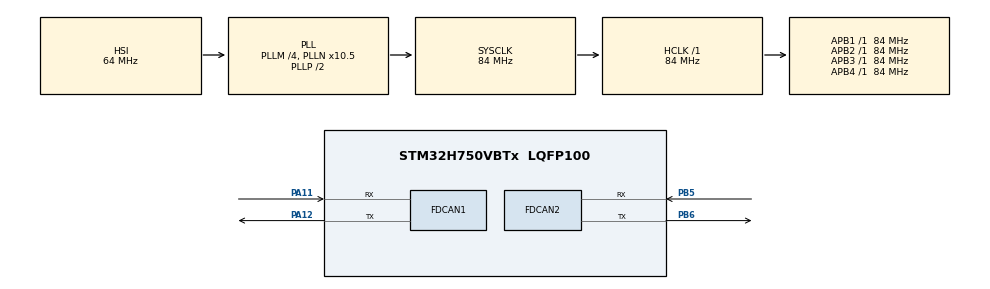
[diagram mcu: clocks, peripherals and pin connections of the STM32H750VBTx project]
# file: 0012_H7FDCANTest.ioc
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FDCAN1.AutoRetransmission=ENABLE
FDCAN1.NominalPrescaler=12
FDCAN1.NominalTimeSeg1=11
FDCAN1.StdFiltersNbr=1
FDCAN1.TxFifoQueueElmtsNbr=24
FDCAN2.AutoRetransmission=ENABLE
FDCAN2.NominalPrescaler=12
FDCAN2.NominalTimeSeg1=11
FDCAN2.RxFifo0ElmtsNbr=1
FDCAN2.StdFiltersNbr=1
FDCAN2.TxFifoQueueElmtsNbr=24
Mcu.Family=STM32H7
Mcu.Name=STM32H750VBTx
Mcu.Package=LQFP100
NVIC.FDCAN1_IT0_IRQn=true\:0\:0\:false\:false\:true\:true\:true\:true
NVIC.FDCAN1_IT1_IRQn=true\:0\:0\:false\:false\:true\:true\:true\:true
NVIC.FDCAN2_IT0_IRQn=true\:0\:0\:false\:false\:true\:true\:true\:true
NVIC.FDCAN2_IT1_IRQn=true\:0\:0\:false\:false\:true\:true\:true\:true
NVIC.PriorityGroup=NVIC_PRIORITYGROUP_4
PA11.Mode=FDCAN_Activate
PA11.Signal=FDCAN1_RX
PA12.Mode=FDCAN_Activate
PA12.Signal=FDCAN1_TX
PB5.Mode=FDCAN_Activate
PB5.Signal=FDCAN2_RX
PB6.Mode=FDCAN_Activate
PB6.Signal=FDCAN2_TX
PH0-OSC_IN\ (PH0).Mode=HSE-External-Oscillator
PH0-OSC_IN\ (PH0).Signal=RCC_OSC_IN
PH1-OSC_OUT\ (PH1).Mode=HSE-External-Oscillator
PH1-OSC_OUT\ (PH1).Signal=RCC_OSC_OUT
ProjectManager.HeapSize=0x200
ProjectManager.StackSize=0x400
ProjectManager.TargetToolchain=STM32CubeIDE
RCC.ADCFreq_Value=129000000
RCC.APB1Freq_Value=84000000
RCC.APB2Freq_Value=84000000
RCC.APB3Freq_Value=84000000
RCC.APB4Freq_Value=84000000
RCC.CortexFreq_Value=84000000
RCC.DIVM1=4
RCC.DIVN1=10
RCC.DIVQ1=4
RCC.HCLKFreq_Value=84000000
RCC.HSE_VALUE=8000000
RCC.PLL2FRACN=0
RCC.PLL3FRACN=0
RCC.PLLFRACN=4096
RCC.SYSCLKFreq_VALUE=84000000
RCC.SYSCLKSource=RCC_SYSCLKSOURCE_PLLCLK
RCC.USBFreq_Value=42000000
board=custom

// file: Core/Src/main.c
/* USER CODE BEGIN Header */
/**
  ******************************************************************************
  * @file           : main.c
  * @brief          : Main program body
  ******************************************************************************
  * @attention
  *
  * Copyright (c) 2023 STMicroelectronics.
  * All rights reserved.
  *
  * This software is licensed under terms that can be found in the LICENSE file
  * in the root directory of this software component.
  * If no LICENSE file comes with this software, it is provided AS-IS.
  *
  ******************************************************************************
  */
/* USER CODE END Header */
#include "main.h"

/* USER CODE BEGIN Includes */

// FDCAN1 Defines
FDCAN_TxHeaderTypeDef   TxHeader1;
FDCAN_RxHeaderTypeDef   RxHeader1;
uint8_t               TxData1[8];
uint8_t               RxData1[8];
uint32_t				indx = 0;

FDCAN_TxHeaderTypeDef   TxHeader2;
FDCAN_RxHeaderTypeDef   RxHeader2;
uint8_t               TxData2[8];
uint8_t               RxData2[8];

/* USER CODE END Includes */

/* USER CODE BEGIN PTD */

// FDCAN1 Callback
void HAL_FDCAN_RxFifo0Callback(FDCAN_HandleTypeDef *hfdcan, uint32_t RxFifo0ITs)
{
  if((RxFifo0ITs & FDCAN_IT_RX_FIFO0_NEW_MESSAGE) != RESET)
  {
    /* Retreive Rx messages from RX FIFO0 */
    if (HAL_FDCAN_GetRxMessage(hfdcan, FDCAN_RX_FIFO0, &RxHeader1, RxData1) != HAL_OK)
    {
    /* Reception Error */
    Error_Handler();
    }

    if (HAL_FDCAN_ActivateNotification(hfdcan, FDCAN_IT_RX_FIFO0_NEW_MESSAGE, 0) != HAL_OK)
    {
      /* Notification Error */
      Error_Handler();
    }
  }
}

/* USER CODE END PTD */

FDCAN_HandleTypeDef hfdcan1;
FDCAN_HandleTypeDef hfdcan2;

void SystemClock_Config(void);
static void MX_GPIO_Init(void);
static void MX_FDCAN2_Init(void);
static void MX_FDCAN1_Init(void);

int main(void)
{

  /* MCU Configuration--------------------------------------------------------*/

  /* Reset of all peripherals, Initializes the Flash interface and the Systick. */
  HAL_Init();

  /* Configure the system clock */
  SystemClock_Config();

  /* Initialize all configured peripherals */
  MX_GPIO_Init();
  MX_FDCAN2_Init();
  MX_FDCAN1_Init();
  /* USER CODE BEGIN 2 */

  // Configure TX Header for FDCAN1
  TxHeader1.Identifier = 0x65D;
  TxHeader1.IdType = FDCAN_STANDARD_ID;
  TxHeader1.TxFrameType = FDCAN_DATA_FRAME;
  TxHeader1.DataLength = FDCAN_DLC_BYTES_8;
  TxHeader1.ErrorStateIndicator = FDCAN_ESI_ACTIVE;
  TxHeader1.BitRateSwitch = FDCAN_BRS_OFF;
  TxHeader1.FDFormat = FDCAN_CLASSIC_CAN;
  TxHeader1.TxEventFifoControl = FDCAN_STORE_TX_EVENTS;
  TxHeader1.MessageMarker = 0;

  if (HAL_FDCAN_AddMessageToTxFifoQ(&hfdcan1, &TxHeader1, TxData1)!= HAL_OK)
  {
  	Error_Handler();
  }

  /////////////////////////////////////////////////////////////////////////////////////////////////////////////////////////
  if(HAL_FDCAN_Start(&hfdcan2)!= HAL_OK)
  {
   Error_Handler();
  }

  if (HAL_FDCAN_ActivateNotification(&hfdcan2, FDCAN_IT_RX_FIFO0_NEW_MESSAGE | FDCAN_IT_TX_EVT_FIFO_NEW_DATA , 0) != HAL_OK)
  {
    /* Notification Error */
    Error_Handler();
  }

  // Configure TX Header for FDCAN1
  TxHeader2.Identifier = 0x65D;
  TxHeader2.IdType = FDCAN_STANDARD_ID;
  TxHeader2.TxFrameType = FDCAN_DATA_FRAME;
  TxHeader2.DataLength = FDCAN_DLC_BYTES_8;
  TxHeader2.ErrorStateIndicator = FDCAN_ESI_ACTIVE;
  TxHeader2.BitRateSwitch = FDCAN_BRS_OFF;
  TxHeader2.FDFormat = FDCAN_CLASSIC_CAN;
  TxHeader2.TxEventFifoControl = FDCAN_STORE_TX_EVENTS;
  TxHeader2.MessageMarker = 0;

  if (HAL_FDCAN_AddMessageToTxFifoQ(&hfdcan2, &TxHeader2, TxData2)!= HAL_OK)
  {
  	Error_Handler();
  }

  /* USER CODE END 2 */

  /* Infinite loop */
  while (1)
  {

    /* USER CODE BEGIN 3 */

	  // RX kısmında buffer arttirilmasi gerekiyor vb.

	  sprintf((char *)TxData2, "12345678" );

	  if (HAL_FDCAN_AddMessageToTxFifoQ(&hfdcan2, &TxHeader2, TxData2)!= HAL_OK)
	  {
	   Error_Handler();
	  }

	  sprintf((char *)TxData1, "12345678" );
	  if (HAL_FDCAN_AddMessageToTxFifoQ(&hfdcan1, &TxHeader1, TxData1)!= HAL_OK)
	  {
	   Error_Handler();
	  }

	  HAL_Delay (1000);

  }
  /* USER CODE END 3 */
}

void SystemClock_Config(void)
{
  RCC_OscInitTypeDef RCC_OscInitStruct = {0};
  RCC_ClkInitTypeDef RCC_ClkInitStruct = {0};

  /** Supply configuration update enable
  */
  HAL_PWREx_ConfigSupply(PWR_LDO_SUPPLY);

  /** Configure the main internal regulator output voltage
  */
  __HAL_PWR_VOLTAGESCALING_CONFIG(PWR_REGULATOR_VOLTAGE_SCALE3);

  while(!__HAL_PWR_GET_FLAG(PWR_FLAG_VOSRDY)) {}

  /** Initializes the RCC Oscillators according to the specified parameters
  * in the RCC_OscInitTypeDef structure.
  */
  RCC_OscInitStruct.OscillatorType = RCC_OSCILLATORTYPE_HSI;
  RCC_OscInitStruct.HSIState = RCC_HSI_DIV1;
  RCC_OscInitStruct.HSICalibrationValue = RCC_HSICALIBRATION_DEFAULT;
  RCC_OscInitStruct.PLL.PLLState = RCC_PLL_ON;
  RCC_OscInitStruct.PLL.PLLSource = RCC_PLLSOURCE_HSI;
  RCC_OscInitStruct.PLL.PLLM = 4;
  RCC_OscInitStruct.PLL.PLLN = 10;
  RCC_OscInitStruct.PLL.PLLP = 2;
  RCC_OscInitStruct.PLL.PLLQ = 4;
  RCC_OscInitStruct.PLL.PLLR = 2;
  RCC_OscInitStruct.PLL.PLLRGE = RCC_PLL1VCIRANGE_3;
  RCC_OscInitStruct.PLL.PLLVCOSEL = RCC_PLL1VCOMEDIUM;
  RCC_OscInitStruct.PLL.PLLFRACN = 4096;
  if (HAL_RCC_OscConfig(&RCC_OscInitStruct) != HAL_OK)
  {
    Error_Handler();
  }

  /** Initializes the CPU, AHB and APB buses clocks
  */
  RCC_ClkInitStruct.ClockType = RCC_CLOCKTYPE_HCLK|RCC_CLOCKTYPE_SYSCLK
                              |RCC_CLOCKTYPE_PCLK1|RCC_CLOCKTYPE_PCLK2
                              |RCC_CLOCKTYPE_D3PCLK1|RCC_CLOCKTYPE_D1PCLK1;
  RCC_ClkInitStruct.SYSCLKSource = RCC_SYSCLKSOURCE_PLLCLK;
  RCC_ClkInitStruct.SYSCLKDivider = RCC_SYSCLK_DIV1;
  RCC_ClkInitStruct.AHBCLKDivider = RCC_HCLK_DIV1;
  RCC_ClkInitStruct.APB3CLKDivider = RCC_APB3_DIV1;
  RCC_ClkInitStruct.APB1CLKDivider = RCC_APB1_DIV1;
  RCC_ClkInitStruct.APB2CLKDivider = RCC_APB2_DIV1;
  RCC_ClkInitStruct.APB4CLKDivider = RCC_APB4_DIV1;

  if (HAL_RCC_ClockConfig(&RCC_ClkInitStruct, FLASH_LATENCY_1) != HAL_OK)
  {
    Error_Handler();
  }
}

static void MX_FDCAN1_Init(void)
{

  hfdcan1.Instance = FDCAN1;
  hfdcan1.Init.FrameFormat = FDCAN_FRAME_CLASSIC;
  hfdcan1.Init.Mode = FDCAN_MODE_NORMAL;
  hfdcan1.Init.AutoRetransmission = ENABLE;
  hfdcan1.Init.TransmitPause = DISABLE;
  hfdcan1.Init.ProtocolException = DISABLE;
  hfdcan1.Init.NominalPrescaler = 12;
  hfdcan1.Init.NominalSyncJumpWidth = 1;
  hfdcan1.Init.NominalTimeSeg1 = 11;
  hfdcan1.Init.NominalTimeSeg2 = 2;
  hfdcan1.Init.DataPrescaler = 1;
  hfdcan1.Init.DataSyncJumpWidth = 1;
  hfdcan1.Init.DataTimeSeg1 = 1;
  hfdcan1.Init.DataTimeSeg2 = 1;
  hfdcan1.Init.MessageRAMOffset = 0;
  hfdcan1.Init.StdFiltersNbr = 1;
  hfdcan1.Init.ExtFiltersNbr = 0;
  hfdcan1.Init.RxFifo0ElmtsNbr = 0;
  hfdcan1.Init.RxFifo0ElmtSize = FDCAN_DATA_BYTES_8;
  hfdcan1.Init.RxFifo1ElmtsNbr = 0;
  hfdcan1.Init.RxFifo1ElmtSize = FDCAN_DATA_BYTES_8;
  hfdcan1.Init.RxBuffersNbr = 0;
  hfdcan1.Init.RxBufferSize = FDCAN_DATA_BYTES_8;
  hfdcan1.Init.TxEventsNbr = 0;
  hfdcan1.Init.TxBuffersNbr = 0;
  hfdcan1.Init.TxFifoQueueElmtsNbr = 24;
  hfdcan1.Init.TxFifoQueueMode = FDCAN_TX_FIFO_OPERATION;
  hfdcan1.Init.TxElmtSize = FDCAN_DATA_BYTES_8;
  if (HAL_FDCAN_Init(&hfdcan1) != HAL_OK)
  {
    Error_Handler();
  }
  /* USER CODE BEGIN FDCAN1_Init 2 */

  FDCAN_FilterTypeDef sFilterConfig;

  sFilterConfig.IdType = FDCAN_STANDARD_ID ;
  sFilterConfig.FilterIndex = 0;
  sFilterConfig.FilterType = FDCAN_FILTER_MASK;
  sFilterConfig.FilterConfig = FDCAN_FILTER_TO_RXFIFO0_HP;
  sFilterConfig.FilterID1 = 0x00 ;
  sFilterConfig.FilterID2 = 0x00 ;
  sFilterConfig.RxBufferIndex = 0;
  if(HAL_FDCAN_ConfigFilter(&hfdcan1 , &sFilterConfig) != HAL_OK) Error_Handler();

  /* USER CODE END FDCAN1_Init 2 */

}

static void MX_FDCAN2_Init(void)
{

  hfdcan2.Instance = FDCAN2;
  hfdcan2.Init.FrameFormat = FDCAN_FRAME_CLASSIC;
  hfdcan2.Init.Mode = FDCAN_MODE_NORMAL;
  hfdcan2.Init.AutoRetransmission = ENABLE;
  hfdcan2.Init.TransmitPause = DISABLE;
  hfdcan2.Init.ProtocolException = DISABLE;
  hfdcan2.Init.NominalPrescaler = 12;
  hfdcan2.Init.NominalSyncJumpWidth = 1;
  hfdcan2.Init.NominalTimeSeg1 = 11;
  hfdcan2.Init.NominalTimeSeg2 = 2;
  hfdcan2.Init.DataPrescaler = 1;
  hfdcan2.Init.DataSyncJumpWidth = 1;
  hfdcan2.Init.DataTimeSeg1 = 1;
  hfdcan2.Init.DataTimeSeg2 = 1;
  hfdcan2.Init.MessageRAMOffset = 0;
  hfdcan2.Init.StdFiltersNbr = 1;
  hfdcan2.Init.ExtFiltersNbr = 0;
  hfdcan2.Init.RxFifo0ElmtsNbr = 1;
  hfdcan2.Init.RxFifo0ElmtSize = FDCAN_DATA_BYTES_8;
  hfdcan2.Init.RxFifo1ElmtsNbr = 0;
  hfdcan2.Init.RxFifo1ElmtSize = FDCAN_DATA_BYTES_8;
  hfdcan2.Init.RxBuffersNbr = 0;
  hfdcan2.Init.RxBufferSize = FDCAN_DATA_BYTES_8;
  hfdcan2.Init.TxEventsNbr = 0;
  hfdcan2.Init.TxBuffersNbr = 0;
  hfdcan2.Init.TxFifoQueueElmtsNbr = 24;
  hfdcan2.Init.TxFifoQueueMode = FDCAN_TX_FIFO_OPERATION;
  hfdcan2.Init.TxElmtSize = FDCAN_DATA_BYTES_8;
  if (HAL_FDCAN_Init(&hfdcan2) != HAL_OK)
  {
    Error_Handler();
  }
  /* USER CODE BEGIN FDCAN2_Init 2 */

  FDCAN_FilterTypeDef sFilterConfig;

  sFilterConfig.IdType = FDCAN_STANDARD_ID ;
  sFilterConfig.FilterIndex = 0;
  sFilterConfig.FilterType = FDCAN_FILTER_MASK;
  sFilterConfig.FilterConfig = FDCAN_FILTER_TO_RXFIFO0_HP;
  sFilterConfig.FilterID1 = 0x00 ;
  sFilterConfig.FilterID2 = 0x00 ;
  sFilterConfig.RxBufferIndex = 0;
  if(HAL_FDCAN_ConfigFilter(&hfdcan2 , &sFilterConfig) != HAL_OK) Error_Handler();

  /* USER CODE END FDCAN2_Init 2 */

}

static void MX_GPIO_Init(void)
{

  /* GPIO Ports Clock Enable */
  __HAL_RCC_GPIOH_CLK_ENABLE();
  __HAL_RCC_GPIOA_CLK_ENABLE();
  __HAL_RCC_GPIOB_CLK_ENABLE();

}

void Error_Handler(void)
{
  __disable_irq();
  while (1)
  {
  }
}
